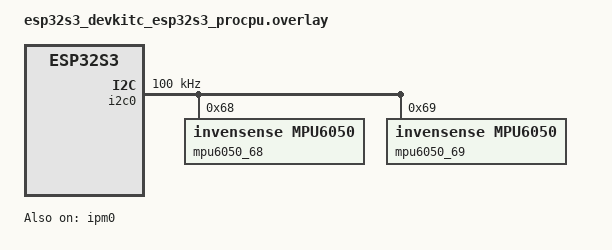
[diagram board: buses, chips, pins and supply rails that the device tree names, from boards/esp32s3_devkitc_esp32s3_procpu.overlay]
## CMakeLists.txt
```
cmake_minimum_required(VERSION 3.20.0)

find_package(Zephyr REQUIRED HINTS $ENV{ZEPHYR_BASE})
project(gy521_mpu6050_procpu)

target_sources(app PRIVATE
	src/main.c
	src/sensor_hub.c
)
```

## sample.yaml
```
sample:
  name: GY-521 (MPU-6050) dual-core (IPM, threshold+heartbeat) with SSD1306 on core1
  description: >
    core0 (procpu) reads the MPU-6050's accelerometer, gyroscope, and die
    temperature every 100 ms in one thread over I2C0, converting to g and
    deg/s. It pushes an IPM message to core1 immediately whenever the
    accel or gyro vector magnitude moves past a threshold since the last
    value actually sent (>=0.15g, >=15 deg/s), plus a 1 s heartbeat so the
    link never looks stale while the board is still. core1 owns I2C1 and
    an SSD1306 128x64 OLED exclusively, displays all 7 values plus link
    health, redraws from an event-driven display thread woken by the IPM
    callback, and declares the link down after 2 s without a message.
    Built with --sysbuild.
tests:
  sample.sensor.gy521_mpu6050_dualcore:
    build_only: true
    sysbuild: true
    platform_allow: esp32s3_devkitc/esp32s3/procpu
    tags: sensor display i2c threads ipm multicore
```

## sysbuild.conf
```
# sysbuild.conf - sysbuild's OWN Kconfig namespace (SB_CONFIG_*), not the
# app's prj.conf.
#
# Espressif boards default to building MCUboot alongside the app whenever
# --sysbuild is used. This lab is a plain two-image AMP build (procpu +
# appcpu) with nothing to do with OTA, so MCUboot is unwanted - and per
# Lab 01, SB_CONFIG_BOOTLOADER is a Kconfig *choice*, so the alternative
# member must be explicitly selected with =y (setting MCUBOOT=n alone
# does not override a board's choice default).
SB_CONFIG_BOOTLOADER_NONE=y
SB_CONFIG_BOOTLOADER_MCUBOOT=n
```

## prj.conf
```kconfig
# 02_GY521_MPU6050 - core0 (procpu) image

CONFIG_I2C=y
CONFIG_GPIO=y

CONFIG_SENSOR=y
CONFIG_MPU6050=y
# Polling mode only - this lab drives the sensor with plain
# sensor_sample_fetch() on a timer, not the interrupt pin. If your
# Zephyr checkout's mpu6050 driver requires a different trigger-mode
# Kconfig symbol name, `west build -t guiconfig` and search "MPU6050".
CONFIG_MPU6050_TRIGGER_NONE=y

# Inter-core mailbox to core1 (appcpu). Symbol confirmed in Lab 01
# against drivers/ipm/Kconfig upstream: it's ESP32_SOFT_IPM, not
# IPM_ESP32.
CONFIG_IPM=y
CONFIG_ESP32_SOFT_IPM=y

CONFIG_LOG=y
CONFIG_LOG_MODE_IMMEDIATE=y

# sensor_value_to_double() and the accel/gyro unit conversions use
# floating point; ESP32-S3 has a hardware FPU.
CONFIG_FPU=y
```

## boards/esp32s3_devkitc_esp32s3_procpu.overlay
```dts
/*
 * Overlay for 02_GY521_MPU6050 - core0 (procpu) image
 *
 * - I2C0 remapped to SDA=GPIO8 / SCL=GPIO9, per this series' I2C0
 *   convention. Owned exclusively by core0 in this dual-core layout.
 * - GY-521 (MPU-6050) address depends on the module's AD0 pin: GND (or
 *   floating - AD0 has an onboard pull-down on most GY-521 boards)
 *   gives 0x68, VCC gives 0x69. Confirmed on real hardware with
 *   lab_tools/i2c0_scanner: this board is wired for 0x68.
 *
 *   Rather than hardcoding one address, BOTH candidate nodes are
 *   declared here (mpu6050_68 and mpu6050_69). Zephyr's mpu6050 driver
 *   reads the chip's WHO_AM_I register during init() and fails
 *   (device_is_ready() == false) if nothing responds or the ID
 *   doesn't match - so whichever address has no real hardware behind
 *   it simply never becomes ready, and main.c picks whichever one
 *   did. This makes the firmware work unmodified whether AD0 is wired
 *   to GND or VCC, without needing a raw I2C bypass.
 * - Polling mode only (no int-gpios) - CONFIG_MPU6050_TRIGGER_NONE in
 *   prj.conf. This lab reads via plain sensor_sample_fetch() on a
 *   timer, not via the sensor's interrupt pin.
 * - The SSD1306 OLED is NOT on this bus/core - it lives on I2C1,
 *   owned by core1 (remote/boards/esp32s3_devkitc_esp32s3_appcpu.overlay).
 * - &ipm0 is this image's half of the core0<->core1 mailbox.
 *
 * IMPORTANT: verify the pinctrl macro names and the &ipm0 node name
 * against your actual west workspace before building.
 */

#include <dt-bindings/pinctrl/esp32s3-pinctrl.h>
#include <zephyr/dt-bindings/i2c/i2c.h>

&pinctrl {
	i2c0_default: i2c0_default {
		group1 {
			pinmux = <I2C0_SDA_GPIO8>, <I2C0_SCL_GPIO9>;
			bias-pull-up;
			drive-open-drain;
			output-high;
		};
	};
};

&i2c0 {
	status = "okay";
	clock-frequency = <I2C_BITRATE_STANDARD>; /* 100 kHz */

	mpu6050_68: mpu6050@68 {
		compatible = "invensense,mpu6050";
		reg = <0x68>;
	};

	mpu6050_69: mpu6050@69 {
		compatible = "invensense,mpu6050";
		reg = <0x69>;
	};
};

&ipm0 {
	status = "okay";
};
```

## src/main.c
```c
/*
 * main.c - 02_GY521_MPU6050 (core0 / procpu image)
 *
 * Architecture (dual-core AMP via IPM, change-triggered + heartbeat)
 * ---------------------------------------------------------------------
 *   [mpu6050_thread] 100ms -> reads accel XYZ, gyro XYZ, die temperature
 *                           -> sensor_hub_update(...)
 *                           -> if accel vector magnitude moves >=0.15g
 *                              OR gyro vector magnitude moves >=15 deg/s
 *                              since the last value actually sent: push now
 *
 *   [heartbeat_thread] 1000ms -> push now, unconditionally
 *
 * Unlike Lab 01 (two sensors sharing one I2C0 bus), only one thread
 * here ever touches I2C0, so there is no bus-contention concern and no
 * bus-serializing mutex is needed.
 *
 * Address auto-detect (0x68 vs 0x69)
 * -----------------------------------
 * The GY-521 module's I2C address depends on its AD0 pin: 0x68 if
 * AD0 is low/floating, 0x69 if tied to VCC. Rather than hardcoding
 * one, the overlay declares BOTH as separate devicetree nodes; the
 * mpu6050 driver's init() reads the chip's WHO_AM_I register and
 * fails (device_is_ready() == false) for whichever address has no
 * real hardware behind it. mpu6050_select(), called from
 * mpu6050_thread_fn's own startup (not from main() - see that
 * function's comment for why), picks whichever candidate actually
 * came up ready.
 *
 * Both "push now" paths funnel through push_snapshot_to_core1(), which
 * always sends the FULL current reading (all 6 axes + temperature),
 * and is itself serialized by g_send_lock so a threshold trigger and
 * the heartbeat can never call ipm_send() at the same instant.
 *
 * core0 owns I2C0 (MPU6050). core1 owns I2C1 (SSD1306) - see the
 * design doc for why the two cores never share a peripheral.
 */

#include <zephyr/kernel.h>
#include <zephyr/device.h>
#include <zephyr/drivers/i2c.h>
#include <zephyr/drivers/sensor.h>
#include <zephyr/drivers/ipm.h>
#include <zephyr/logging/log.h>
#include <math.h>

#include "sensor_hub.h"
#include "ipm_protocol.h"

LOG_MODULE_REGISTER(app_procpu, LOG_LEVEL_INF);

/* Devicetree handles - see boards/esp32s3_devkitc_esp32s3_procpu.overlay.
 * Both candidate addresses are declared there; exactly one of these
 * two will actually initialize successfully depending on how the
 * module's AD0 pin is wired (see mpu6050_select() below).
 */
static const struct device *dev_mpu6050_68 = DEVICE_DT_GET(DT_NODELABEL(mpu6050_68));
static const struct device *dev_mpu6050_69 = DEVICE_DT_GET(DT_NODELABEL(mpu6050_69));
static const struct device *dev_mpu6050; /* selected at boot - see mpu6050_select() */
static const struct device *dev_i2c0    = DEVICE_DT_GET(DT_NODELABEL(i2c0));
static const struct device *dev_ipm     = DEVICE_DT_GET(DT_NODELABEL(ipm0));

#define SENSOR_PERIOD_MS      100
#define HEARTBEAT_PERIOD_MS   1000 /* must stay well under core1's 2 s link timeout */
#define ACCEL_THRESHOLD_G     0.15f
#define GYRO_THRESHOLD_DPS    15.0f

/* Unit conversions - Zephyr's mpu6050 driver reports accel in m/s^2
 * and gyro in rad/s (SI units); this lab displays the more intuitive
 * g and deg/s instead.
 */
#define STANDARD_GRAVITY_MS2  9.80665f
#define RAD_TO_DEG            57.29578f

/* Serializes the act of pushing an IPM message - the sensor thread's
 * threshold trigger and the heartbeat thread can decide to push at
 * nearly the same instant, and ipm_send() should not be called
 * concurrently.
 */
K_MUTEX_DEFINE(g_send_lock);

static void push_snapshot_to_core1(const char *reason)
{
	struct sensor_snapshot snap;

	sensor_hub_get_snapshot(&snap);

	struct ipm_sensor_payload payload = {
		.accel_x_g = snap.accel_x_g,
		.accel_y_g = snap.accel_y_g,
		.accel_z_g = snap.accel_z_g,
		.gyro_x_dps = snap.gyro_x_dps,
		.gyro_y_dps = snap.gyro_y_dps,
		.gyro_z_dps = snap.gyro_z_dps,
		.temp_c = snap.temp_c,
		.valid = snap.valid,
	};

	k_mutex_lock(&g_send_lock, K_FOREVER);
	/* wait=0: don't block if the mailbox is momentarily busy. A
	 * dropped push is not fatal here - either the next threshold
	 * crossing or the next heartbeat will retry with fresher data.
	 */
	int ret = ipm_send(dev_ipm, 0, IPM_SENSOR_CHANNEL, &payload, sizeof(payload));
	k_mutex_unlock(&g_send_lock);

	if (ret) {
		LOG_WRN("ipm_send failed (%s): %d", reason, ret);
	} else {
		LOG_DBG("ipm_send ok (%s)", reason);
	}
}

/* Picks whichever candidate address actually has hardware behind it.
 * Called from mpu6050_thread_fn's own startup, NOT from main() - this
 * matters because K_THREAD_DEFINE threads with a 0 ms delay can start
 * running before main() does, so relying on main() to pick the device
 * first would be a race. Doing the pick inside the very thread that
 * needs it removes that race entirely.
 */
static const struct device *mpu6050_select(void)
{
	if (device_is_ready(dev_mpu6050_68)) {
		LOG_INF("MPU6050 found at 0x68 (AD0 low/floating)");
		return dev_mpu6050_68;
	}
	if (device_is_ready(dev_mpu6050_69)) {
		LOG_INF("MPU6050 found at 0x69 (AD0 high)");
		return dev_mpu6050_69;
	}
	LOG_ERR("MPU6050 not found at 0x68 or 0x69 - check wiring");
	return NULL;
}

/* ---------------------------------------------------------------------
 * MPU6050 thread - accel + gyro + temperature, every 100 ms
 * ------------------------------------------------------------------- */
static void mpu6050_thread_fn(void *p1, void *p2, void *p3)
{
	ARG_UNUSED(p1);
	ARG_UNUSED(p2);
	ARG_UNUSED(p3);

	dev_mpu6050 = mpu6050_select();

	if (dev_mpu6050 == NULL) {
		/* Nothing responded at either address. Don't spin - park
		 * this thread so the rest of the app (heartbeat, core1's
		 * link indicator) keeps running and honestly reports
		 * "no valid data" instead of crashing on a NULL device.
		 */
		while (1) {
			k_sleep(K_SECONDS(5));
		}
	}

	while (1) {
		struct sensor_value accel[3], gyro[3], temp;
		int ret = sensor_sample_fetch(dev_mpu6050);

		if (ret == 0) {
			ret = sensor_channel_get(dev_mpu6050, SENSOR_CHAN_ACCEL_XYZ, accel);
			ret |= sensor_channel_get(dev_mpu6050, SENSOR_CHAN_GYRO_XYZ, gyro);
			ret |= sensor_channel_get(dev_mpu6050, SENSOR_CHAN_DIE_TEMP, &temp);
		}

		if (ret == 0) {
			/* Driver units: accel in m/s^2, gyro in rad/s,
			 * temperature already in Celsius.
			 */
			float ax_g = sensor_value_to_double(&accel[0]) / STANDARD_GRAVITY_MS2;
			float ay_g = sensor_value_to_double(&accel[1]) / STANDARD_GRAVITY_MS2;
			float az_g = sensor_value_to_double(&accel[2]) / STANDARD_GRAVITY_MS2;
			float gx_dps = sensor_value_to_double(&gyro[0]) * RAD_TO_DEG;
			float gy_dps = sensor_value_to_double(&gyro[1]) * RAD_TO_DEG;
			float gz_dps = sensor_value_to_double(&gyro[2]) * RAD_TO_DEG;
			float temp_c = sensor_value_to_double(&temp);

			sensor_hub_update(ax_g, ay_g, az_g, gx_dps, gy_dps, gz_dps,
					   temp_c, true);

			bool accel_moved = sensor_hub_accel_exceeds_threshold(
				ax_g, ay_g, az_g, ACCEL_THRESHOLD_G);
			bool gyro_moved = sensor_hub_gyro_exceeds_threshold(
				gx_dps, gy_dps, gz_dps, GYRO_THRESHOLD_DPS);

			if (accel_moved) {
				push_snapshot_to_core1("accel-threshold");
			} else if (gyro_moved) {
				/* Only push once per cycle even if both
				 * thresholds trip at once - the payload
				 * always carries every value anyway.
				 */
				push_snapshot_to_core1("gyro-threshold");
			}
		} else {
			LOG_WRN("MPU6050 read failed: %d", ret);
			sensor_hub_update(0.0f, 0.0f, 0.0f, 0.0f, 0.0f, 0.0f, 0.0f, false);
		}

		k_sleep(K_MSEC(SENSOR_PERIOD_MS));
	}
}

/* ---------------------------------------------------------------------
 * Heartbeat thread - keeps core1's link indicator alive when nothing
 * has crossed a threshold recently
 * ------------------------------------------------------------------- */
static void heartbeat_thread_fn(void *p1, void *p2, void *p3)
{
	ARG_UNUSED(p1);
	ARG_UNUSED(p2);
	ARG_UNUSED(p3);

	while (1) {
		push_snapshot_to_core1("heartbeat");
		k_sleep(K_MSEC(HEARTBEAT_PERIOD_MS));
	}
}

/* ---------------------------------------------------------------------
 * Thread definitions - static allocation, auto-start at boot
 * ------------------------------------------------------------------- */
K_THREAD_DEFINE(mpu6050_tid, 1024, mpu6050_thread_fn, NULL, NULL, NULL, 7, 0, 0);
K_THREAD_DEFINE(heartbeat_tid, 1024, heartbeat_thread_fn, NULL, NULL, NULL, 6, 0, 0);

int main(void)
{
	LOG_INF("02_GY521_MPU6050 (core0/procpu) starting");

	if (!device_is_ready(dev_i2c0)) {
		LOG_ERR("I2C0 bus not ready");
		return -1;
	}
	/* MPU6050 presence (0x68 vs 0x69) is resolved inside
	 * mpu6050_thread_fn itself, not here - see mpu6050_select().
	 */
	if (!device_is_ready(dev_ipm)) {
		LOG_ERR("IPM device not ready - core1 will never receive sensor data");
	}

	/* Threads above are already running (K_THREAD_DEFINE with 0 delay);
	 * main() has nothing left to do.
	 */
	return 0;
}
```

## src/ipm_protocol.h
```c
/*
 * ipm_protocol.h
 *
 * Shared between the procpu (core0, src/) and appcpu (core1, remote/src/)
 * images. Sysbuild compiles these as two completely independent Zephyr
 * applications, so there is no shared build target to enforce a single
 * copy of this file - keep both copies byte-for-byte identical.
 */

#ifndef IPM_PROTOCOL_H_
#define IPM_PROTOCOL_H_

#include <stdint.h>

/* IPM channel used for procpu -> appcpu sensor forwarding. Per this
 * project's IPM convention (see Lab 01), channels 0/1 are reserved by
 * the platform and 2/3 are free for application use. This lab claims
 * channel 2, same as Lab 01 - the two labs are never built/flashed
 * onto the same device at the same time, so there is no real conflict.
 */
#define IPM_SENSOR_CHANNEL 2

/* One full MPU6050 reading: 3-axis acceleration (g), 3-axis angular
 * rate (deg/s), and die temperature (C). All seven floats + one byte
 * comfortably fit inside the ESP32 IPM driver's 64-byte per-message
 * limit (this struct is 29 bytes).
 */
struct ipm_sensor_payload {
	float accel_x_g;
	float accel_y_g;
	float accel_z_g;

	float gyro_x_dps;
	float gyro_y_dps;
	float gyro_z_dps;

	float temp_c;

	uint8_t valid;
};

#endif /* IPM_PROTOCOL_H_ */
```

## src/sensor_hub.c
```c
/*
 * sensor_hub.c  (core0 / procpu only)
 */

#include "sensor_hub.h"
#include <math.h>

K_MUTEX_DEFINE(g_data_lock);

struct sensor_snapshot g_snapshot;

/* "Last actually sent to core1" magnitude baselines. Guarded by
 * g_data_lock as well.
 */
static float last_sent_accel_mag_g;
static bool  have_sent_accel;
static float last_sent_gyro_mag_dps;
static bool  have_sent_gyro;

void sensor_hub_update(float ax, float ay, float az,
			float gx, float gy, float gz,
			float temp_c, bool ok)
{
	k_mutex_lock(&g_data_lock, K_FOREVER);

	if (ok) {
		g_snapshot.accel_x_g = ax;
		g_snapshot.accel_y_g = ay;
		g_snapshot.accel_z_g = az;
		g_snapshot.gyro_x_dps = gx;
		g_snapshot.gyro_y_dps = gy;
		g_snapshot.gyro_z_dps = gz;
		g_snapshot.temp_c = temp_c;
		g_snapshot.valid = true;
		g_snapshot.fail_count = 0;
	} else {
		g_snapshot.fail_count++;
		/* Keep the last good reading around; only drop `valid`
		 * after a few consecutive failures so a single noisy
		 * transaction doesn't blank core1's display.
		 */
		if (g_snapshot.fail_count >= 3) {
			g_snapshot.valid = false;
		}
	}

	k_mutex_unlock(&g_data_lock);
}

void sensor_hub_get_snapshot(struct sensor_snapshot *out)
{
	k_mutex_lock(&g_data_lock, K_FOREVER);
	*out = g_snapshot;
	k_mutex_unlock(&g_data_lock);
}

bool sensor_hub_accel_exceeds_threshold(float ax, float ay, float az, float threshold)
{
	bool trigger;
	float mag = sqrtf(ax * ax + ay * ay + az * az);

	k_mutex_lock(&g_data_lock, K_FOREVER);

	trigger = (!have_sent_accel) || (fabsf(mag - last_sent_accel_mag_g) >= threshold);
	if (trigger) {
		last_sent_accel_mag_g = mag;
		have_sent_accel = true;
	}

	k_mutex_unlock(&g_data_lock);

	return trigger;
}

bool sensor_hub_gyro_exceeds_threshold(float gx, float gy, float gz, float threshold)
{
	bool trigger;
	float mag = sqrtf(gx * gx + gy * gy + gz * gz);

	k_mutex_lock(&g_data_lock, K_FOREVER);

	trigger = (!have_sent_gyro) || (fabsf(mag - last_sent_gyro_mag_dps) >= threshold);
	if (trigger) {
		last_sent_gyro_mag_dps = mag;
		have_sent_gyro = true;
	}

	k_mutex_unlock(&g_data_lock);

	return trigger;
}
```

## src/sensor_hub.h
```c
/*
 * sensor_hub.h  (core0 / procpu only)
 *
 * Holds the latest full MPU6050 reading. Unlike Lab 01 (two sensors on
 * one bus), only one thread here ever touches I2C0, so there is no
 * bus-contention concern and no need for a bus-serializing mutex -
 * g_data_lock below exists purely to make the snapshot struct safe to
 * read from the heartbeat thread while the sensor thread is writing
 * to it.
 */

#ifndef SENSOR_HUB_H_
#define SENSOR_HUB_H_

#include <zephyr/kernel.h>
#include <stdbool.h>

struct sensor_snapshot {
	float accel_x_g;
	float accel_y_g;
	float accel_z_g;

	float gyro_x_dps;
	float gyro_y_dps;
	float gyro_z_dps;

	float temp_c;

	bool valid;
	int  fail_count;
};

extern struct k_mutex g_data_lock;
extern struct sensor_snapshot g_snapshot;

/* Called only from mpu6050_thread, every ~100 ms. Updates the full
 * reading (all 6 axes + temperature) as one unit.
 */
void sensor_hub_update(float ax, float ay, float az,
			float gx, float gy, float gz,
			float temp_c, bool ok);

/* Called from the heartbeat thread (and indirectly by main.c's push
 * helper) to get a consistent point-in-time copy for building the IPM
 * payload.
 */
void sensor_hub_get_snapshot(struct sensor_snapshot *out);

/* Compares the current accel vector magnitude (sqrt(ax^2+ay^2+az^2),
 * in g) against the magnitude that was last actually sent to core1.
 * If they differ by at least `threshold`, records the new magnitude
 * as the baseline and returns true - the caller should push an IPM
 * message right away.
 */
bool sensor_hub_accel_exceeds_threshold(float ax, float ay, float az, float threshold);

/* Same idea for the gyro vector magnitude, in deg/s. */
bool sensor_hub_gyro_exceeds_threshold(float gx, float gy, float gz, float threshold);

#endif /* SENSOR_HUB_H_ */
```
